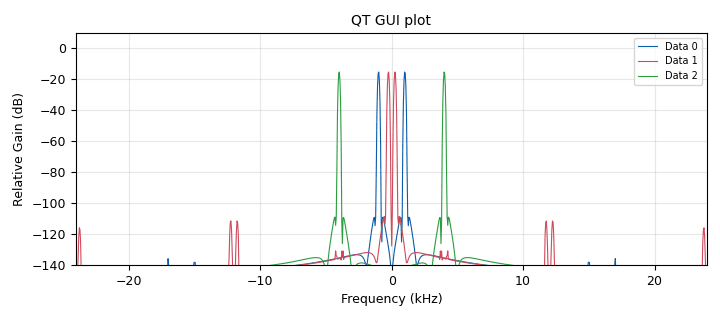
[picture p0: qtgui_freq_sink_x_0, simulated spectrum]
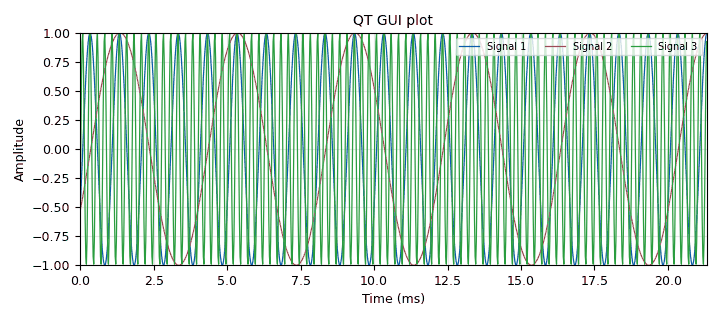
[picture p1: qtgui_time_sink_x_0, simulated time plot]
options:
  parameters:
    author: grupo3
    description: efectos de diesmado y polarizado
    generate_options: qt_gui
    id: punto2
    output_language: python
    title: punto2lab1com
  states: {}

blocks:
- name: samp_rate
  id: variable
  parameters:
    value: '48000'
  states: {}
- name: analog_sig_source_x_0
  id: analog_sig_source_x
  parameters:
    amp: '1'
    freq: '1000'
    offset: '0'
    phase: '0'
    samp_rate: samp_rate
    type: float
    waveform: analog.GR_COS_WAVE
  states: {}
- name: analog_sig_source_x_0_0
  id: analog_sig_source_x
  parameters:
    amp: '1'
    freq: '1000'
    offset: '0'
    phase: '0'
    samp_rate: samp_rate
    type: float
    waveform: analog.GR_COS_WAVE
  states: {}
- name: analog_sig_source_x_0_0_0
  id: analog_sig_source_x
  parameters:
    amp: '1'
    freq: '1000'
    offset: '0'
    phase: '0'
    samp_rate: samp_rate
    type: float
    waveform: analog.GR_COS_WAVE
  states: {}
- name: blocks_throttle_0
  id: blocks_throttle
  parameters:
    samples_per_second: samp_rate
    type: float
  states: {}
- name: qtgui_freq_sink_x_0
  id: qtgui_freq_sink_x
  parameters:
    bw: samp_rate
    fc: '0'
    fftsize: '1024'
    name: '"QT GUI plot"'
    nconnections: '3'
    type: float
    wintype: firdes.WIN_BLACKMAN_hARRIS
  states: {}
- name: qtgui_time_sink_x_0
  id: qtgui_time_sink_x
  parameters:
    name: '"QT GUI plot"'
    nconnections: '3'
    size: '1024'
    srate: samp_rate
    type: float
  states: {}
- name: rational_resampler_xxx_0
  id: rational_resampler_xxx
  parameters:
    decim: '1'
    interp: '1'
    taps: ''
    type: fff
  states: {}
- name: rational_resampler_xxx_0_0
  id: rational_resampler_xxx
  parameters:
    decim: '1'
    interp: '4'
    taps: ''
    type: fff
  states: {}
- name: rational_resampler_xxx_0_0_0
  id: rational_resampler_xxx
  parameters:
    decim: '4'
    interp: '1'
    taps: ''
    type: fff
  states: {}

connections:
- [analog_sig_source_x_0, '0', rational_resampler_xxx_0, '0']
- [analog_sig_source_x_0_0, '0', rational_resampler_xxx_0_0_0, '0']
- [analog_sig_source_x_0_0_0, '0', rational_resampler_xxx_0_0, '0']
- [blocks_throttle_0, '0', qtgui_freq_sink_x_0, '0']
- [blocks_throttle_0, '0', qtgui_time_sink_x_0, '0']
- [rational_resampler_xxx_0, '0', blocks_throttle_0, '0']
- [rational_resampler_xxx_0_0, '0', qtgui_freq_sink_x_0, '1']
- [rational_resampler_xxx_0_0, '0', qtgui_time_sink_x_0, '1']
- [rational_resampler_xxx_0_0_0, '0', qtgui_freq_sink_x_0, '2']
- [rational_resampler_xxx_0_0_0, '0', qtgui_time_sink_x_0, '2']

metadata:
  file_format: 1
